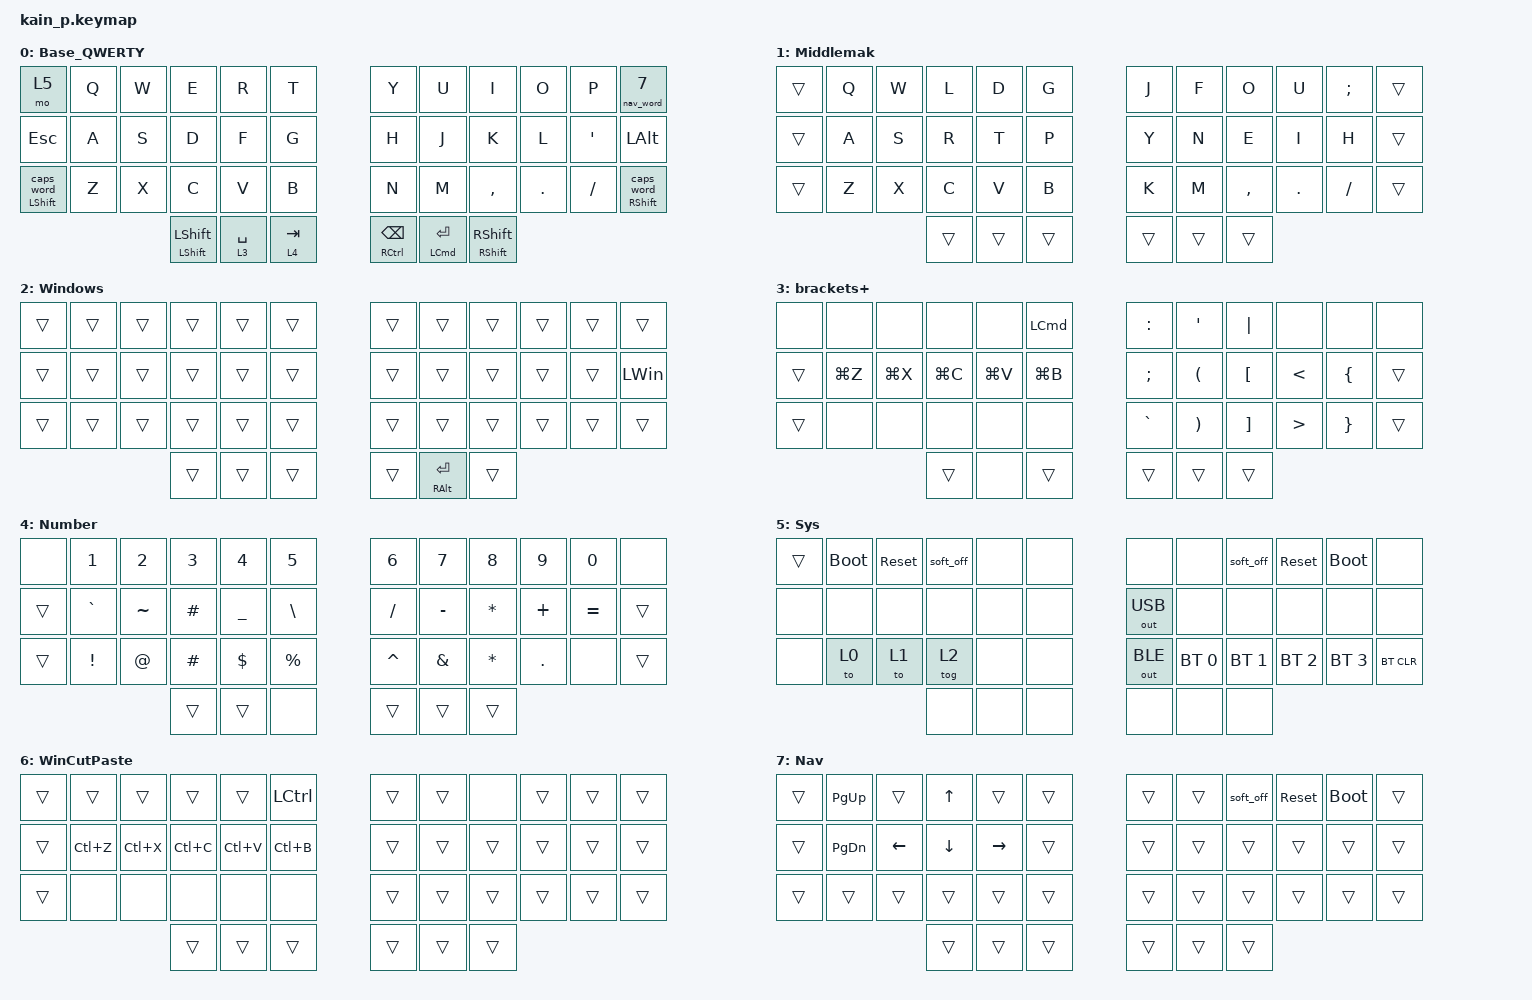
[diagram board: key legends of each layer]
/*
 * Copyright (c) 2020 The ZMK Contributors
 *
 * SPDX-License-Identifier: MIT
 */

#include <behaviors.dtsi>
#include <dt-bindings/zmk/bt.h>
#include <dt-bindings/zmk/keys.h>
#include <dt-bindings/zmk/outputs.h>

&lt { tapping-term-ms = <250>; };

/ {
    behaviors {
        smart_shift: smart_shift {
            compatible = "zmk,behavior-hold-tap";
            label = "Shift+";
            bindings = <&kp>, <&caps_word>;

            #binding-cells = <2>;
            tapping-term-ms = <200>;
        };

        number_layer: number_layer {
            compatible = "zmk,behavior-hold-tap";
            label = "NUMBER_LAYER";
            bindings = <&mo>, <&kp>;

            #binding-cells = <2>;
            flavor = "balanced";
            tapping-term-ms = <200>;
            quick-tap-ms = <0>;
            require-prior-idle-ms = <0>;
        };

        nav_word: nav_word {
            compatible = "zmk,behavior-auto-layer";
            #binding-cells = <1>;
            continue-list = <LEFT DOWN UP RIGHT PG_DN PG_UP>;
            ignore-modifiers;
        };
    };

    keymap {
        compatible = "zmk,keymap";

        Base_QWERTY {
            // -----------------------------------------------------------------------------------------
            // |  TAB |  Q  |  W  |  E  |  R  |  T  |   |  Y  |  U   |  I  |  O  |  P  | BKSP |
            // | CTRL |  A  |  S  |  D  |  F  |  G  |   |  H  |  J   |  K  |  L  |  ;  |  '   |
            // | SHFT |  Z  |  X  |  C  |  V  |  B  |   |  N  |  M   |  ,  |  .  |  /  | ESC  |
            //                    | GUI | LWR | SPC |   | ENT | RSE  | ALT |

            bindings = <
&mo 5                  &kp Q  &kp W  &kp E                       &kp R        &kp T                  &kp Y           &kp U                 &kp I                       &kp O    &kp P     &nav_word 7
&kp ESCAPE             &kp A  &kp S  &kp D                       &kp F        &kp G                  &kp H           &kp J                 &kp K                       &kp L    &kp SQT   &kp LEFT_ALT
&smart_shift LSHIFT 0  &kp Z  &kp X  &kp C                       &kp V        &kp B                  &kp N           &kp M                 &kp COMMA                   &kp DOT  &kp FSLH  &smart_shift RSHIFT 0
                                     &smart_shift LSHIFT LSHIFT  &lt 3 SPACE  &number_layer 4 TAB    &mt RCTRL BSPC  &mt LEFT_COMMAND RET  &smart_shift RSHIFT RSHIFT
            >;
        };

        Middlemak {
            bindings = <
&trans  &kp Q  &kp W  &kp L   &kp D   &kp G     &kp J   &kp F   &kp O      &kp U    &kp SEMI  &trans
&trans  &kp A  &kp S  &kp R   &kp T   &kp P     &kp Y   &kp N   &kp E      &kp I    &kp H     &trans
&trans  &kp Z  &kp X  &kp C   &kp V   &kp B     &kp K   &kp M   &kp COMMA  &kp DOT  &kp FSLH  &trans
                      &trans  &trans  &trans    &trans  &trans  &trans
            >;
        };

        Windows {
            bindings = <
&trans  &trans  &trans  &trans  &trans  &trans    &trans  &trans               &trans  &trans  &trans  &trans
&trans  &trans  &trans  &trans  &trans  &trans    &trans  &trans               &trans  &trans  &trans  &kp LWIN
&trans  &trans  &trans  &trans  &trans  &trans    &trans  &trans               &trans  &trans  &trans  &trans
                        &trans  &trans  &trans    &trans  &mt RIGHT_ALT ENTER  &trans
            >;
        };

        brackets+ {
            bindings = <
&none   &none      &none      &none      &none      &kp LCMD     &kp COLON      &kp SQT                &kp PIPE           &none             &none            &none
&trans  &kp LG(Z)  &kp LG(X)  &kp LG(C)  &kp LG(V)  &kp LG(B)    &kp SEMICOLON  &kp LEFT_PARENTHESIS   &kp LEFT_BRACKET   &kp LESS_THAN     &kp LEFT_BRACE   &trans
&trans  &none      &none      &none      &none      &none        &kp GRAVE      &kp RIGHT_PARENTHESIS  &kp RIGHT_BRACKET  &kp GREATER_THAN  &kp RIGHT_BRACE  &trans
                              &trans     &none      &trans       &trans         &trans                 &trans
            >;
        };

        Number {
            bindings = <
&none   &kp N1           &kp N2       &kp N3     &kp N4          &kp N5           &kp N6     &kp N7         &kp N8        &kp N9      &kp N0     &none
&trans  &kp GRAVE        &kp TILDE    &kp HASH   &kp UNDERSCORE  &kp BACKSLASH    &kp SLASH  &kp MINUS      &kp ASTERISK  &kp PLUS    &kp EQUAL  &trans
&trans  &kp EXCLAMATION  &kp AT_SIGN  &kp POUND  &kp DOLLAR      &kp PERCENT      &kp CARET  &kp AMPERSAND  &kp ASTERISK  &kp PERIOD  &none      &trans
                                      &trans     &trans          &none            &trans     &trans         &trans
            >;
        };

        Sys {
            bindings = <
&trans  &bootloader  &sys_reset  &soft_off  &none  &none    &none         &none         &soft_off     &sys_reset    &bootloader   &none
&none   &none        &none       &none      &none  &none    &out OUT_USB  &none         &none         &none         &none         &none
&none   &to 0        &to 1       &tog 2     &none  &none    &out OUT_BLE  &bt BT_SEL 0  &bt BT_SEL 1  &bt BT_SEL 2  &bt BT_SEL 3  &bt BT_CLR
                                 &none      &none  &none    &none         &none         &none
            >;
        };

        WinCutPaste {
            bindings = <
&trans  &trans     &trans     &trans     &trans     &kp LCTRL    &trans  &trans  &none   &trans  &trans  &trans
&trans  &kp LC(Z)  &kp LC(X)  &kp LC(C)  &kp LC(V)  &kp LC(B)    &trans  &trans  &trans  &trans  &trans  &trans
&trans  &none      &none      &none      &none      &none        &trans  &trans  &trans  &trans  &trans  &trans
                              &trans     &trans     &trans       &trans  &trans  &trans
            >;
        };

        Nav {
            bindings = <
&trans  &kp PG_UP  &trans    &kp UP    &trans     &trans    &trans  &trans  &soft_off  &sys_reset  &bootloader  &trans
&trans  &kp PG_DN  &kp LEFT  &kp DOWN  &kp RIGHT  &trans    &trans  &trans  &trans     &trans      &trans       &trans
&trans  &trans     &trans    &trans    &trans     &trans    &trans  &trans  &trans     &trans      &trans       &trans
                             &trans    &trans     &trans    &trans  &trans  &trans
            >;
        };
    };

    conditional_layers {
        compatible = "zmk,conditional-layers";

        Windows {
            if-layers = <2 3>;
            then-layer = <6>;
        };
    };
};
